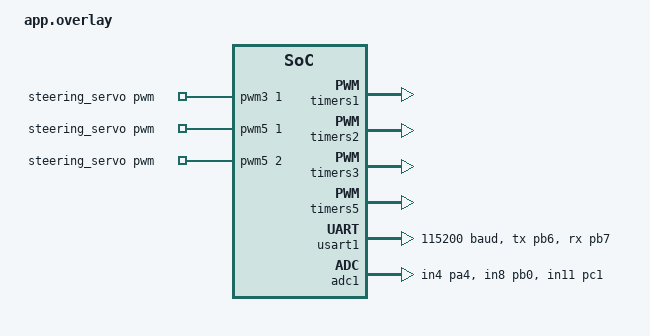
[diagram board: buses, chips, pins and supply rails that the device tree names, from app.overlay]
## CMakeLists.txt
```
cmake_minimum_required(VERSION 3.20.0)

find_package(Zephyr REQUIRED HINTS $ENV{ZEPHYR_BASE})
project(lab2)

target_include_directories(app PRIVATE include)

target_sources(app PRIVATE
    src/main.c
    src/app_state.c
    src/tasks/communication.c
    src/tasks/safety.c
    src/tasks/motor_control.c
    src/tasks/steering.c
    src/tasks/blinkers.c
    src/tasks/current_sensing.c
    src/tasks/status.c
    src/drivers/motor.c
    src/drivers/current_sensor.c
    src/drivers/servo.c
    src/drivers/encoder.c
    src/drivers/led.c
    src/drivers/debug_pins.c
)
```

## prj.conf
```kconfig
CONFIG_GPIO=y
CONFIG_SERIAL=y
CONFIG_UART_INTERRUPT_DRIVEN=y
CONFIG_ADC=y
CONFIG_PWM=y
CONFIG_SENSOR=y

CONFIG_CONSOLE=y
CONFIG_UART_CONSOLE=y
CONFIG_PRINTK=y

CONFIG_MAIN_STACK_SIZE=2048
```

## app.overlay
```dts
#include <zephyr/dt-bindings/pwm/pwm.h>

/ {
    steering_servo: zephyr,user {
        pwms = <&pwm3 1 PWM_MSEC(20) PWM_POLARITY_NORMAL>,
               <&pwm5 1 PWM_USEC(100) PWM_POLARITY_NORMAL>,
               <&pwm5 2 PWM_USEC(100) PWM_POLARITY_NORMAL>;
    };
};

/* PA6/PA7 are debug GPIO outputs (see debug_pins.c), not SPI1 MISO/MOSI */
&spi1 {
    status = "disabled";
};

/* Left encoder */
&timers1 {
    status = "okay";
    st,prescaler = <0>;

    pwm {
        status = "disabled";
    };

    left_encoder: qdec {
        compatible = "st,stm32-qdec";
        status = "okay";

        pinctrl-0 = <&tim1_ch1_pa8 &tim1_ch2_pa9>;
        pinctrl-names = "default";

        st,encoder-mode = <3>;
        st,input-filter-level = <3>;
        st,counts-per-revolution = <1>;
    };
};

/* Right encoder */
&timers2 {
    status = "okay";
    st,prescaler = <0>;

    pwm {
        status = "disabled";
    };

    right_encoder: qdec {
        compatible = "st,stm32-qdec";
        status = "okay";

        pinctrl-0 = <&tim2_ch1_pa15 &tim2_ch2_pb3>;
        pinctrl-names = "default";

        st,encoder-mode = <3>;
        st,input-filter-level = <3>;
        st,counts-per-revolution = <1>;
    };
};

/* Steering servo on PB4 */
&timers3 {
    status = "okay";
    st,prescaler = <83>;

    pwm3: pwm {
        status = "okay";
        pinctrl-0 = <&tim3_ch1_pb4>;
        pinctrl-names = "default";
    };
};

/* Motor enables: ENA on PA0, ENB on PA1 */
&timers5 {
    status = "okay";
    st,prescaler = <83>;

    pwm5: pwm {
        status = "okay";
        pinctrl-0 = <&tim5_ch1_pa0 &tim5_ch2_pa1>;
        pinctrl-names = "default";
    };
};

/* Pi connection */
&usart1 {
    pinctrl-0 = <&usart1_tx_pb6 &usart1_rx_pb7>;
    pinctrl-names = "default";
    current-speed = <115200>;
    status = "okay";
};

/* Current sensors */
&adc1 {
    pinctrl-0 = <&adc1_in4_pa4 &adc1_in8_pb0 &adc1_in11_pc1>;
    pinctrl-names = "default";
    status = "okay";
};
```

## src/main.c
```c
#include "blinkers.h"
#include "current_sensor.h"
#include "current_sensing.h"
#include "encoder.h"
#include "led.h"
#include "motor.h"
#include "motor_control.h"
#include "safety.h"
#include "servo.h"
#include "steering.h"
#include "status.h"

#include <zephyr/kernel.h>
#include <zephyr/sys/printk.h>

int main(void)
{
    printk("Lab 2 firmware starting in ERROR state\n");

    int ret = motor_init();
    if (ret < 0) {
        printk("ERROR: motor initialization failed: %d\n", ret);
        return 0;
    }

    ret = led_init();
    if (ret < 0) {
        printk("ERROR: LED initialization failed: %d\n", ret);
        return 0;
    }

    led_hazards_start();

    /* Calibrate before enabling servo pulses or starting actuator tasks.
     * Sensors must be powered, with no current through their load paths.
     */
    ret = current_sensor_init();
    if (ret < 0) {
        printk("ERROR: current sensor initialization failed: %d\n", ret);
        return 0;
    }

    ret = servo_init();
    if (ret < 0) {
        printk("ERROR: servo initialization failed: %d\n", ret);
        return 0;
    }

    ret = encoder_init();
    if (ret < 0) {
        printk("ERROR: encoder initialization failed: %d\n", ret);
        return 0;
    }

    printk("state=ERROR waiting for valid Pi command\n");

    safety_start();
    motor_control_start();
    steering_start();
    blinkers_start();
    current_sensing_start();
    status_start();

    return 0;
}
```

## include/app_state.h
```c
#ifndef APP_STATE_H
#define APP_STATE_H

#include <stdbool.h>
#include <stdint.h>

struct wheel_command {
    uint32_t packet;
    int32_t steering;
    int32_t throttle;
    int32_t brake;
    uint8_t button4;
    uint8_t button5;
    uint8_t button10;
    int64_t received_at_ms;
};

void app_state_set_command(const struct wheel_command *command);
bool app_state_get_command(struct wheel_command *command);
void app_state_invalidate_command(void);
void app_state_wait_for_command(void);
bool app_state_wait_for_command_ms(int32_t timeout_ms);

#endif
```

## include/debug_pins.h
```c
#ifndef DEBUG_PINS_H
#define DEBUG_PINS_H

// Timing debug outputs for a scope or logic analyzer
// PA6 (D12): toggles on every valid command frame received from the Pi
// PA7 (D11): toggles on every new motor duty cycle written to the PWM
//            (drive duty change, coast, or entering brake)

void debug_pin_uart_command_toggle(void);
void debug_pin_motor_duty_toggle(void);

#endif
```

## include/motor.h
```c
#pragma once

#include <stdbool.h>

// Initialize the H-bridge pins with both motors disabled
int motor_init(void);

// Enable both motors at full drive or disable them to coast
int motor_set_enabled(bool enabled);
```

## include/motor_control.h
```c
#ifndef MOTOR_CONTROL_H
#define MOTOR_CONTROL_H

void motor_control_start(void);

#endif
```

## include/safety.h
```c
#ifndef SAFETY_H
#define SAFETY_H

enum car_state {
    CAR_STATE_ERROR,
    CAR_STATE_NORMAL,
    CAR_STATE_SELF_TEST
};

enum fault_reason {
    FAULT_NONE,
    FAULT_LINK_TIMEOUT,
    FAULT_BAD_RANGE,
    FAULT_SELF_TEST
};

void safety_start(void);
enum car_state safety_get_state(void);
enum fault_reason safety_get_fault(void);
void safety_bad_range(void);

void safety_request_self_test_enter(void);
void safety_request_self_test_exit(void);

#endif
```

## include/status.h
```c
#ifndef STATUS_H
#define STATUS_H

void status_start(void);

#endif
```

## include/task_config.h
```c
#pragma once

/* Task priorities, periods, and stack sizes will be defined here */
```

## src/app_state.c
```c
#include "app_state.h"

#include <zephyr/kernel.h>

K_MUTEX_DEFINE(command_mutex);
K_SEM_DEFINE(command_available, 0, 1);

static struct wheel_command latest_command;
static bool have_command;

void app_state_set_command(const struct wheel_command *command)
{
    if (command == NULL) {
        return;
    }

    k_mutex_lock(&command_mutex, K_FOREVER);

    latest_command = *command;
    latest_command.received_at_ms = k_uptime_get();
    have_command = true;

    k_mutex_unlock(&command_mutex);

    k_sem_give(&command_available);
}

bool app_state_get_command(struct wheel_command *command)
{
    if (command == NULL) {
        return false;
    }

    k_mutex_lock(&command_mutex, K_FOREVER);

    bool available = have_command;

    if (available) {
        *command = latest_command;
    }

    k_mutex_unlock(&command_mutex);
    return available;
}

void app_state_wait_for_command(void)
{
    k_sem_take(&command_available, K_FOREVER);
}

bool app_state_wait_for_command_ms(int32_t timeout_ms)
{
    return k_sem_take(&command_available, K_MSEC(timeout_ms)) == 0;
}
```
